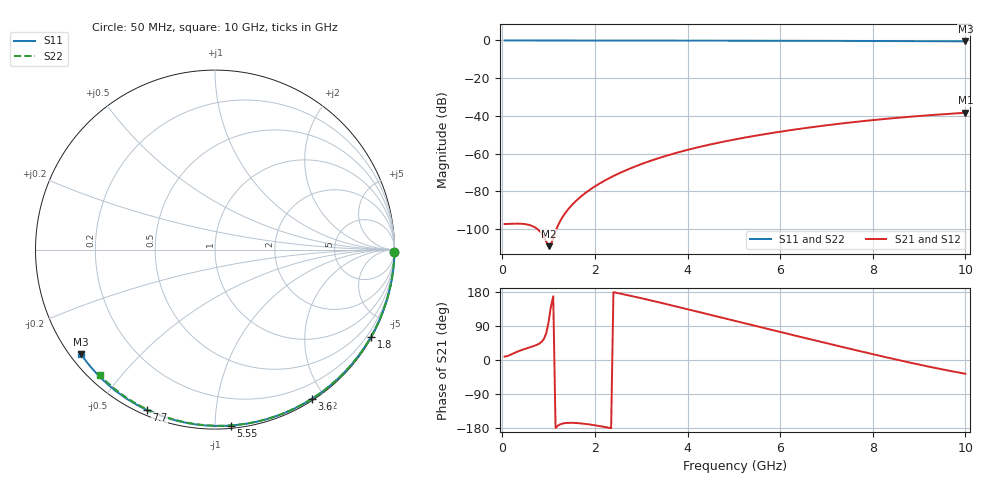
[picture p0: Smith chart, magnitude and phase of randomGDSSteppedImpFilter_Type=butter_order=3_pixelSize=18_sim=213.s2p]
! freq	dB(S11)	phase(S11)	dB(S12)	phase(S12)
!  dB(S21)	phase(S21)	dB(S22)	phase(S22)
!S-par simulation data
#  GHz  S  DB  R 50
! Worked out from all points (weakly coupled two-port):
!   200 points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, 50 MHz to 10 GHz, reference 50 ohm
!   highest |S21| = -38.34 dB at 10 GHz (marker M1); lowest = -109.1 dB at 1 GHz (marker M2)
!   lowest |S11| = -0.5 dB at 10 GHz (marker M3), VSWR 36.87, Z = 1.52 - j17.2 ohm
!   |S11| at or under -10 dB: nowhere
!   |S22| runs from -0.5 to 0.0 dB; largest |S21 - S12| = 0
!   S11 on the Smith chart (normalised r, x): 50 MHz: open; 1.8 GHz: 0.03, -3.84; 3.6 GHz: 0.02, -1.84; 5.55 GHz: 0.02, -1.09; 7.7 GHz: 0.02, -0.66; 10 GHz: 0.03, -0.34
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0.05  -0.00 -0.8  -97.36 9.1  -97.36 9.1  -0.00 -0.8
0.5  -0.01 -8.2  -97.41 29.7  -97.41 29.7  -0.01 -7.7
1  -0.02 -16.4  -109.09 100.3  -109.09 100.3  -0.02 -15.2
1.75  -0.04 -28.4  -81.74 -168.0  -81.74 -168.0  -0.03 -26.5
1.8  -0.04 -29.2  -80.78 -168.7  -80.78 -168.7  -0.03 -27.2
1.85  -0.04 -30.0  -79.88 -169.5  -79.88 -169.5  -0.04 -28.0
2  -0.04 -32.4  -77.39 -172.3  -77.39 -172.3  -0.04 -30.2
2.15  -0.04 -34.7  -75.17 -175.4  -75.17 -175.4  -0.04 -32.4
2.35  -0.05 -37.8  -72.51 -179.9  -72.51 -179.9  -0.05 -35.3
2.55  -0.05 -41.0  -70.13 175.1  -70.13 175.1  -0.05 -38.2
2.95  -0.06 -47.1  -66.05 164.5  -66.05 164.5  -0.06 -44.0
3.4  -0.07 -53.9  -62.22 151.7  -62.22 151.7  -0.07 -50.4
3.6  -0.08 -56.9  -60.72 145.9  -60.72 145.9  -0.07 -53.2
4.3  -0.10 -67.2  -56.22 124.9  -56.22 124.9  -0.09 -62.8
5.05  -0.12 -77.9  -52.35 102.3  -52.35 102.3  -0.11 -72.9
5.55  -0.14 -84.8  -50.16 87.4  -50.16 87.4  -0.13 -79.4
6.1  -0.16 -92.3  -48.02 71.0  -48.02 71.0  -0.15 -86.4
6.7  -0.19 -100.2  -45.94 53.2  -45.94 53.2  -0.18 -93.9
7.7  -0.26 -113.1  -43.00 24.0  -43.00 24.0  -0.24 -106.0
8.35  -0.31 -121.3  -41.42 5.5  -41.42 5.5  -0.29 -113.6
9.2  -0.39 -132.0  -39.69 -17.2  -39.69 -17.2  -0.37 -123.4
10  -0.47 -142.0  -38.34 -36.4  -38.34 -36.4  -0.45 -132.5
